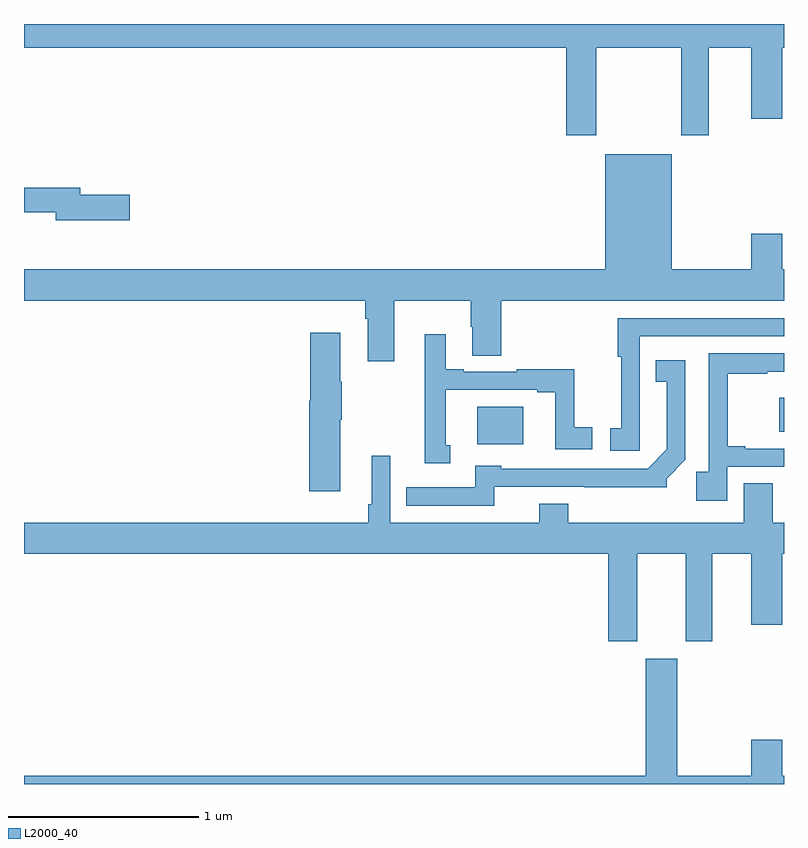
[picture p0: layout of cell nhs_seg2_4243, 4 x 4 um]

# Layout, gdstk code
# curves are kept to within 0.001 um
import gdstk
lib = gdstk.Library(unit=1e-6, precision=1e-09)
def R(c, l, rs):  # rectangles x0, y0, x1, y1
    for r in rs: c.add(gdstk.rectangle(r[:2], r[2:], *l))
def P(c, l, *ps):  # polygons
    for p in ps: c.add(gdstk.Polygon(p, *l))
L2000_40 = (2000, 40)

nhs_seg2_4243 = lib.new_cell('nhs_seg2_4243')
R(nhs_seg2_4243, L2000_40, [(343.385,605.588,343.627,605.785), (344.974,605.655,345,605.833)])
P(nhs_seg2_4243, L2000_40, [(344.013,607.676),(344.458,607.676),(344.458,607.215),(344.605,607.215),(344.605,607.676),(344.828,607.676),(344.828,607.302),(344.992,607.302),(344.992,607.676),(345,607.676),(345,607.8),(341,607.8),(341,607.676),(343.853,607.676),(343.853,607.215),(344.013,607.215)],
  [(345,606.508),(344.992,606.508),(344.992,606.697),(344.828,606.697),(344.828,606.508),(344.41,606.508),(344.41,607.114),(344.06,607.114),(344.06,606.508),(341,606.508),(341,606.344),(342.797,606.344),(342.797,606.248),(342.809,606.248),(342.809,606.024),(342.949,606.024),(342.949,606.344),(343.351,606.344),(343.351,606.206),(343.358,606.206),(343.358,606.055),(343.511,606.055),(343.511,606.344),(345,606.344)],
  [(341.557,606.902),(341.296,606.902),(341.296,606.938),(341,606.938),(341,606.81),(341.168,606.81),(341.168,606.767),(341.557,606.767)],
  [(344.242,605.828),(344.241,605.828),(344.241,606.156),(345,606.156),(345,606.252),(344.125,606.252),(344.125,606.049),(344.143,606.049),(344.143,605.673),(344.085,605.673),(344.085,605.553),(344.242,605.553)],
  [(342.664,605.717),(342.672,605.717),(342.672,605.917),(342.664,605.917),(342.664,606.175),(342.506,606.175),(342.506,605.817),(342.5,605.817),(342.5,605.34),(342.664,605.34)],
  [(343.243,605.583),(343.219,605.583),(343.219,605.874),(343.7,605.874),(343.7,605.862),(343.796,605.862),(343.796,605.562),(343.99,605.562),(343.99,605.678),(343.896,605.678),(343.896,605.983),(343.594,605.983),(343.594,605.97),(343.315,605.97),(343.315,605.983),(343.219,605.983),(343.219,606.166),(343.109,606.166),(343.109,605.921),(343.11,605.921),(343.11,605.489),(343.243,605.489)],
  [(344.7,605.469),(345,605.469),(345,605.565),(344.797,605.565),(344.797,605.578),(344.705,605.578),(344.705,605.958),(344.912,605.958),(344.912,605.969),(345,605.969),(345,606.066),(344.604,606.066),(344.604,605.443),(344.539,605.443),(344.539,605.292),(344.7,605.292)],
  [(343.476,605.364),(344.382,605.363),(344.382,605.407),(344.481,605.506),(344.481,606.031),(344.326,606.031),(344.326,605.918),(344.384,605.918),(344.384,605.561),(344.283,605.46),(343.512,605.46),(343.512,605.476),(343.376,605.476),(343.376,605.361),(343.012,605.361),(343.012,605.265),(343.476,605.265)],
  [(344.227,605.012),(344.483,605.012),(344.483,604.551),(344.623,604.551),(344.623,605.012),(344.828,605.012),(344.828,604.638),(344.992,604.638),(344.992,605.012),(345,605.012),(345,605.176),(344.942,605.176),(344.942,605.384),(344.789,605.384),(344.789,605.176),(343.865,605.176),(343.865,605.275),(343.712,605.275),(343.712,605.176),(342.927,605.176),(342.927,605.527),(342.83,605.527),(342.83,605.272),(342.811,605.272),(342.811,605.176),(341,605.176),(341,605.012),(344.075,605.012),(344.075,604.551),(344.227,604.551)],
  [(345,603.844),(344.992,603.844),(344.992,604.033),(344.828,604.033),(344.828,603.844),(344.437,603.844),(344.437,604.459),(344.273,604.459),(344.273,603.844),(341,603.844),(341,603.8),(345,603.8)])

lib.write_gds('nhs_seg2_4243.gds')
